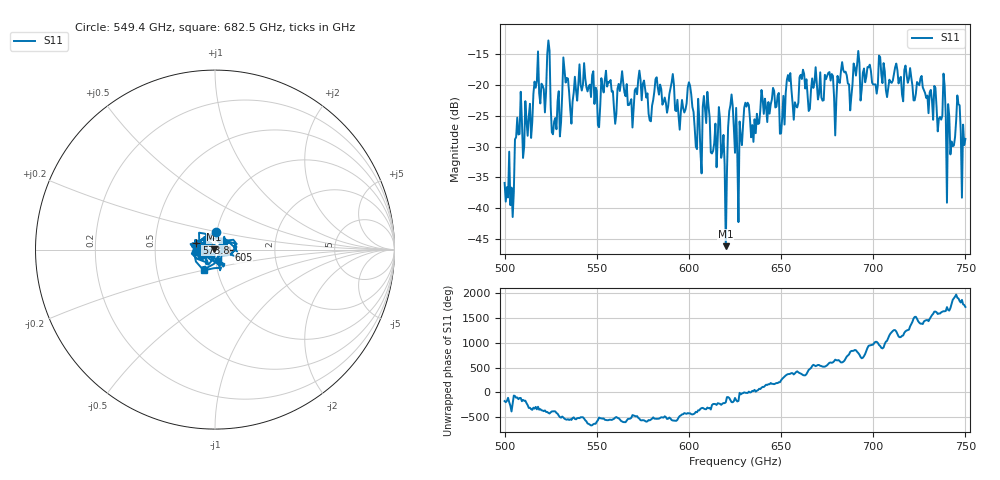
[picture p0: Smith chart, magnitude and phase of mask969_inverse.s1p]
!Created with skrf (http://scikit-rf.org).
# GHz S MA R 50.0
!freq magS11 angS11
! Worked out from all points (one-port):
!   401 points, 500 GHz to 750 GHz, reference 50 ohm
!   lowest |S11| = -46.2 dB at 620 GHz (marker M1), VSWR 1.01, Z = 49.5 + j0.165 ohm
!   |S11| at or under -10 dB: start of sweep to end of sweep
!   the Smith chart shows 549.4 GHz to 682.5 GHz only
!   S11 on the Smith chart (normalised r, x): 549.4 GHz: 0.99, +0.19; 573.8 GHz: 0.81, +0.06; 605 GHz: 1.17, -0.00; 682.5 GHz: 0.86, -0.20
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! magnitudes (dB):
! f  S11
! 500 GHz  -35.9
! 504.4 GHz  -41.5
! 507.5 GHz  -28.0
! 513.8 GHz  -23.1
! 516.9 GHz  -20.4
! 523.8 GHz  -12.8
! 526.9 GHz  -25.9
! 531.2 GHz  -21.6
! 549.4 GHz  -20.4
! 562.5 GHz  -21.0
! 568.8 GHz  -22.3
! 573.8 GHz  -19.1
! 593.8 GHz  -22.4
! 600.6 GHz  -20.1
! 605 GHz  -22.2
! 609.4 GHz  -26.2
! 620 GHz  -46.2
! 622.5 GHz  -23.3
! 625 GHz  -31.0
! 627.5 GHz  -25.9
! 631.2 GHz  -23.5
! 635 GHz  -29.2
! 656.2 GHz  -23.0
! 682.5 GHz  -17.7
! 687.5 GHz  -24.1
! 690.6 GHz  -18.5
! 718.8 GHz  -19.6
! 750 GHz  -28.8
